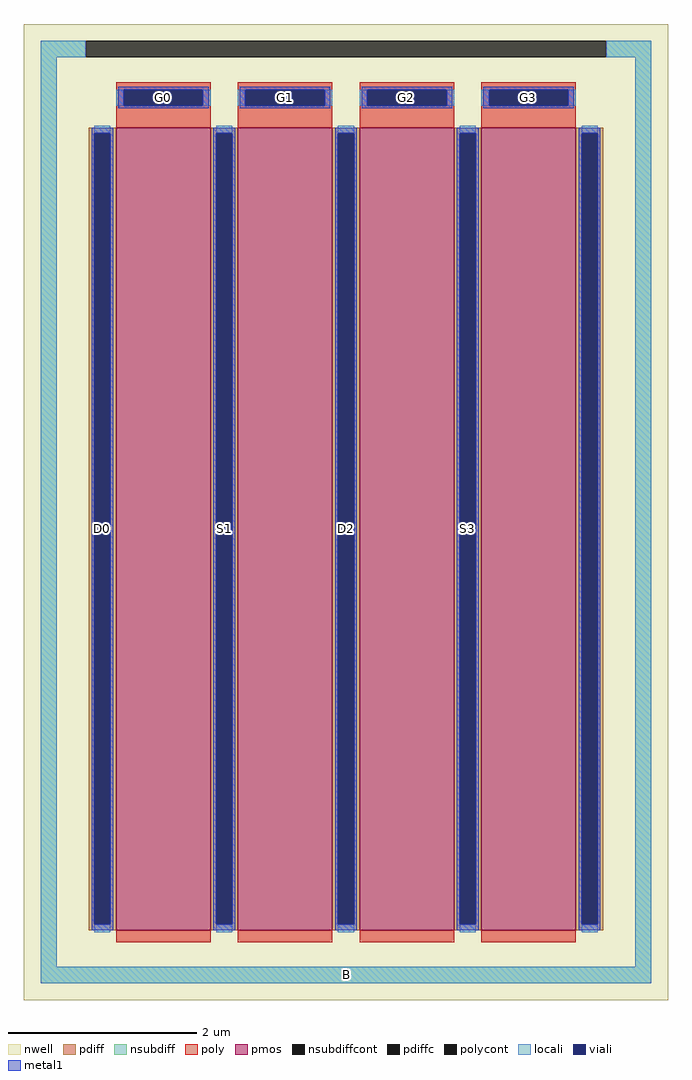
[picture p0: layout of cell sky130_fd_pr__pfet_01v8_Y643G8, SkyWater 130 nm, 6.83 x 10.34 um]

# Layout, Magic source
magic
tech sky130A
magscale 1 2
<< nwell >>
rect -683 -1034 683 1034
<< pmos >>
rect -487 -886 -287 814
rect -229 -886 -29 814
rect 29 -886 229 814
rect 287 -886 487 814
<< pdiff >>
rect -545 802 -487 814
rect -545 -874 -533 802
rect -499 -874 -487 802
rect -545 -886 -487 -874
rect -287 802 -229 814
rect -287 -874 -275 802
rect -241 -874 -229 802
rect -287 -886 -229 -874
rect -29 802 29 814
rect -29 -874 -17 802
rect 17 -874 29 802
rect -29 -886 29 -874
rect 229 802 287 814
rect 229 -874 241 802
rect 275 -874 287 802
rect 229 -886 287 -874
rect 487 802 545 814
rect 487 -874 499 802
rect 533 -874 545 802
rect 487 -886 545 -874
<< pdiffc >>
rect -533 -874 -499 802
rect -275 -874 -241 802
rect -17 -874 17 802
rect 241 -874 275 802
rect 499 -874 533 802
<< nsubdiff >>
rect -647 964 -551 998
rect 551 964 647 998
rect -647 -964 -613 964
rect 613 -964 647 964
rect -647 -998 647 -964
<< nsubdiffcont >>
rect -551 964 551 998
<< poly >>
rect -487 895 -287 911
rect -487 861 -471 895
rect -303 861 -287 895
rect -487 814 -287 861
rect -229 895 -29 911
rect -229 861 -213 895
rect -45 861 -29 895
rect -229 814 -29 861
rect 29 895 229 911
rect 29 861 45 895
rect 213 861 229 895
rect 29 814 229 861
rect 287 895 487 911
rect 287 861 303 895
rect 471 861 487 895
rect 287 814 487 861
rect -487 -912 -287 -886
rect -229 -912 -29 -886
rect 29 -912 229 -886
rect 287 -912 487 -886
<< polycont >>
rect -471 861 -303 895
rect -213 861 -45 895
rect 45 861 213 895
rect 303 861 471 895
<< locali >>
rect -647 964 -551 998
rect 551 964 647 998
rect -647 -964 -613 964
rect -487 861 -471 895
rect -303 861 -287 895
rect -229 861 -213 895
rect -45 861 -29 895
rect 29 861 45 895
rect 213 861 229 895
rect 287 861 303 895
rect 471 861 487 895
rect -533 802 -499 818
rect -533 -890 -499 -874
rect -275 802 -241 818
rect -275 -890 -241 -874
rect -17 802 17 818
rect -17 -890 17 -874
rect 241 802 275 818
rect 241 -890 275 -874
rect 499 802 533 818
rect 499 -890 533 -874
rect 613 -964 647 964
rect -647 -998 647 -964
<< viali >>
rect -471 861 -303 895
rect -213 861 -45 895
rect 45 861 213 895
rect 303 861 471 895
rect -533 -874 -499 802
rect -275 -874 -241 802
rect -17 -874 17 802
rect 241 -874 275 802
rect 499 -874 533 802
<< metal1 >>
rect -483 895 -291 901
rect -483 861 -471 895
rect -303 861 -291 895
rect -483 855 -291 861
rect -225 895 -33 901
rect -225 861 -213 895
rect -45 861 -33 895
rect -225 855 -33 861
rect 33 895 225 901
rect 33 861 45 895
rect 213 861 225 895
rect 33 855 225 861
rect 291 895 483 901
rect 291 861 303 895
rect 471 861 483 895
rect 291 855 483 861
rect -539 802 -493 814
rect -539 -874 -533 802
rect -499 -874 -493 802
rect -539 -886 -493 -874
rect -281 802 -235 814
rect -281 -874 -275 802
rect -241 -874 -235 802
rect -281 -886 -235 -874
rect -23 802 23 814
rect -23 -874 -17 802
rect 17 -874 23 802
rect -23 -886 23 -874
rect 235 802 281 814
rect 235 -874 241 802
rect 275 -874 281 802
rect 235 -886 281 -874
rect 493 802 539 814
rect 493 -874 499 802
rect 533 -874 539 802
rect 493 -886 539 -874
<< labels >>
rlabel nsubdiff 0 -981 0 -981 0 B
port 1 nsew
rlabel pdiffc -516 -36 -516 -36 0 D0
port 2 nsew
rlabel polycont -387 878 -387 878 0 G0
port 3 nsew
rlabel pdiffc -258 -36 -258 -36 0 S1
port 4 nsew
rlabel polycont -129 878 -129 878 0 G1
port 5 nsew
rlabel pdiffc 0 -36 0 -36 0 D2
port 6 nsew
rlabel polycont 129 878 129 878 0 G2
port 7 nsew
rlabel pdiffc 258 -36 258 -36 0 S3
port 8 nsew
rlabel polycont 387 878 387 878 0 G3
port 9 nsew
<< properties >>
string FIXED_BBOX -630 -981 630 981
string gencell sky130_fd_pr__pfet_01v8
string library sky130
string parameters w 8.5 l 1.0 m 1 nf 4 diffcov 100 polycov 100 guard 1 glc 0 grc 0 gtc 1 gbc 0 tbcov 100 rlcov 100 topc 1 botc 0 poverlap 0 doverlap 1 lmin 0.15 wmin 0.42 class mosfet compatible {sky130_fd_pr__pfet_01v8  sky130_fd_pr__pfet_01v8_lvt sky130_fd_pr__pfet_01v8_hvt  sky130_fd_pr__pfet_g5v0d10v5} full_metal 1 conn_gates 0 viasrc 100 viadrn 100 viagate 100 viagb 0 viagr 0 viagl 0 viagt 0 doports 1
<< end >>
